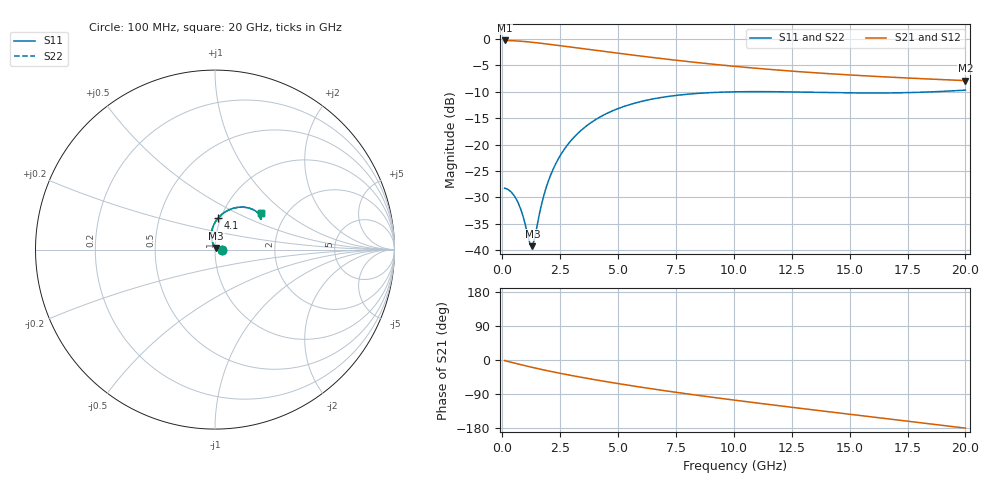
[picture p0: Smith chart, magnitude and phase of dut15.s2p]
! Created with skrf 1.9.0 (http://scikit-rf.org).
# GHz S RI R 50.0
!freq ReS11 ImS11 ReS21 ImS21 ReS12 ImS12 ReS22 ImS22
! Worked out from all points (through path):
!   200 points, 100 MHz to 20 GHz, reference 50 ohm
!   highest |S21| = -0.35 dB at 100 MHz (marker M1); lowest = -7.9 dB at 20 GHz (marker M2)
!   group delay of S21, straight-line fit = 23.5 ps
!   lowest |S11| = -39.2 dB at 1.3 GHz (marker M3), VSWR 1.02, Z = 50.6 + j0.92 ohm
!   |S11| at or under -10 dB: start of sweep to 18.83 GHz
!   |S22| runs from -39.2 to -9.7 dB; largest |S21 - S12| = 2.8e-15
!   S11 on the Smith chart (normalised r, x): 100 MHz: 1.08, -0.00; 4.1 GHz: 0.97, +0.35; 20 GHz: 1.51, +0.68
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0.1  0.0386 -0.00191  0.9605 -0.0253  0.9605 -0.0253  0.0386 -0.00191
0.4  0.0351 -0.0034  0.9511 -0.1038  0.9511 -0.1038  0.0351 -0.0034
0.7  0.0275 -0.00315  0.9317 -0.1781  0.9317 -0.1781  0.0275 -0.00315
0.9  0.0209 -0.00099  0.9141 -0.2247  0.9141 -0.2247  0.0209 -0.00099
1.2  0.00983 0.00583  0.8819 -0.2893  0.8819 -0.2893  0.00983 0.00583
1.3  0.00614 0.00908  0.8699 -0.3093  0.8699 -0.3093  0.00614 0.00908
1.4  0.00253 0.0128  0.8574 -0.3286  0.8574 -0.3286  0.00253 0.0128
1.6  -0.00421 0.0216  0.8311 -0.3649  0.8311 -0.3649  -0.00421 0.0216
1.8  -0.01 0.0319  0.8034 -0.3982  0.8034 -0.3982  -0.01 0.0319
2  -0.0147 0.0434  0.7748 -0.4287  0.7748 -0.4287  -0.0147 0.0434
2.2  -0.0179 0.0559  0.7454 -0.4565  0.7454 -0.4565  -0.0179 0.0559
2.5  -0.0201 0.0758  0.7007 -0.4935  0.7007 -0.4935  -0.0201 0.0758
2.8  -0.019 0.0962  0.6555 -0.5255  0.6555 -0.5255  -0.019 0.0962
3.5  -0.00509 0.1418  0.5507 -0.583  0.5507 -0.583  -0.00509 0.1418
4.1  0.0165 0.1748  0.4633 -0.6163  0.4633 -0.6163  0.0165 0.1748
5.3  0.0727 0.2187  0.2998 -0.6478  0.2998 -0.6478  0.0727 0.2187
6.8  0.1432 0.2366  0.1229 -0.6393  0.1229 -0.6393  0.1432 0.2366
8.4  0.2005 0.2278  -0.0297 -0.5938  -0.0297 -0.5938  0.2005 0.2278
10.1  0.2373 0.2066  -0.1552 -0.5231  -0.1552 -0.5231  0.2373 0.2066
13.4  0.2583 0.1735  -0.3159 -0.3581  -0.3159 -0.3581  0.2583 0.1735
16.7  0.2529 0.1738  -0.3943 -0.1791  -0.3943 -0.1791  0.2529 0.1738
20  0.2569 0.2012  -0.4012 -0.00159  -0.4012 -0.00159  0.2569 0.2012
